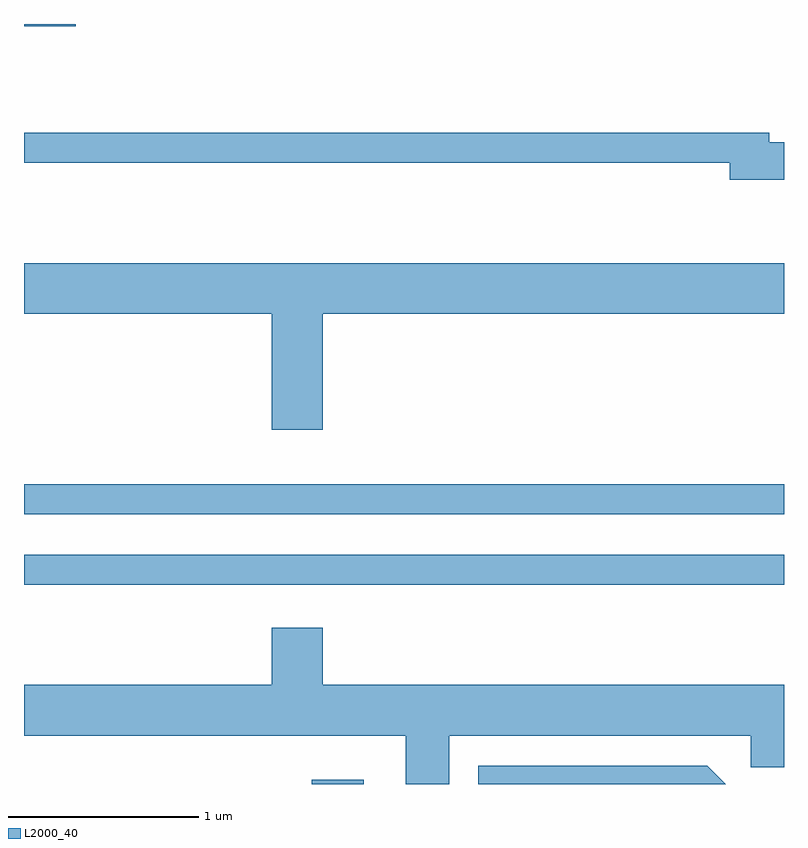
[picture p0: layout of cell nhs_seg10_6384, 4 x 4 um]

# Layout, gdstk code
import gdstk
lib = gdstk.Library(unit=1e-6, precision=1e-09)
def R(c, l, rs):  # rectangles x0, y0, x1, y1
    for r in rs: c.add(gdstk.rectangle(r[:2], r[2:], *l))
def P(c, l, *ps):  # polygons
    for p in ps: c.add(gdstk.Polygon(p, *l))
L2000_40 = (2000, 40)

nhs_seg10_6384 = lib.new_cell('nhs_seg10_6384')
R(nhs_seg10_6384, L2000_40, [(375.126,2142.522,375.398,2142.544), (373.611,2143.571,377.611,2143.729), (373.611,2143.941,377.611,2144.099), (373.611,2146.511,373.884,2146.522)])
P(nhs_seg10_6384, L2000_40, [(377.611,2145.899),(377.534,2145.899),(377.534,2145.949),(373.611,2145.949),(373.611,2145.791),(377.326,2145.791),(377.326,2145.701),(377.611,2145.701)],
  [(375.184,2144.996),(377.611,2144.996),(377.611,2145.264),(373.611,2145.264),(373.611,2144.996),(374.916,2144.996),(374.916,2144.386),(375.184,2144.386)],
  [(375.184,2143.344),(374.916,2143.344),(374.916,2143.044),(373.611,2143.044),(373.611,2142.776),(375.621,2142.776),(375.621,2142.522),(375.849,2142.522),(375.849,2142.776),(377.436,2142.776),(377.436,2142.611),(377.611,2142.611),(377.611,2143.044),(375.184,2143.044)],
  [(377.207,2142.619),(376.001,2142.619),(376.001,2142.522),(377.304,2142.522)])

lib.write_gds('nhs_seg10_6384.gds')
